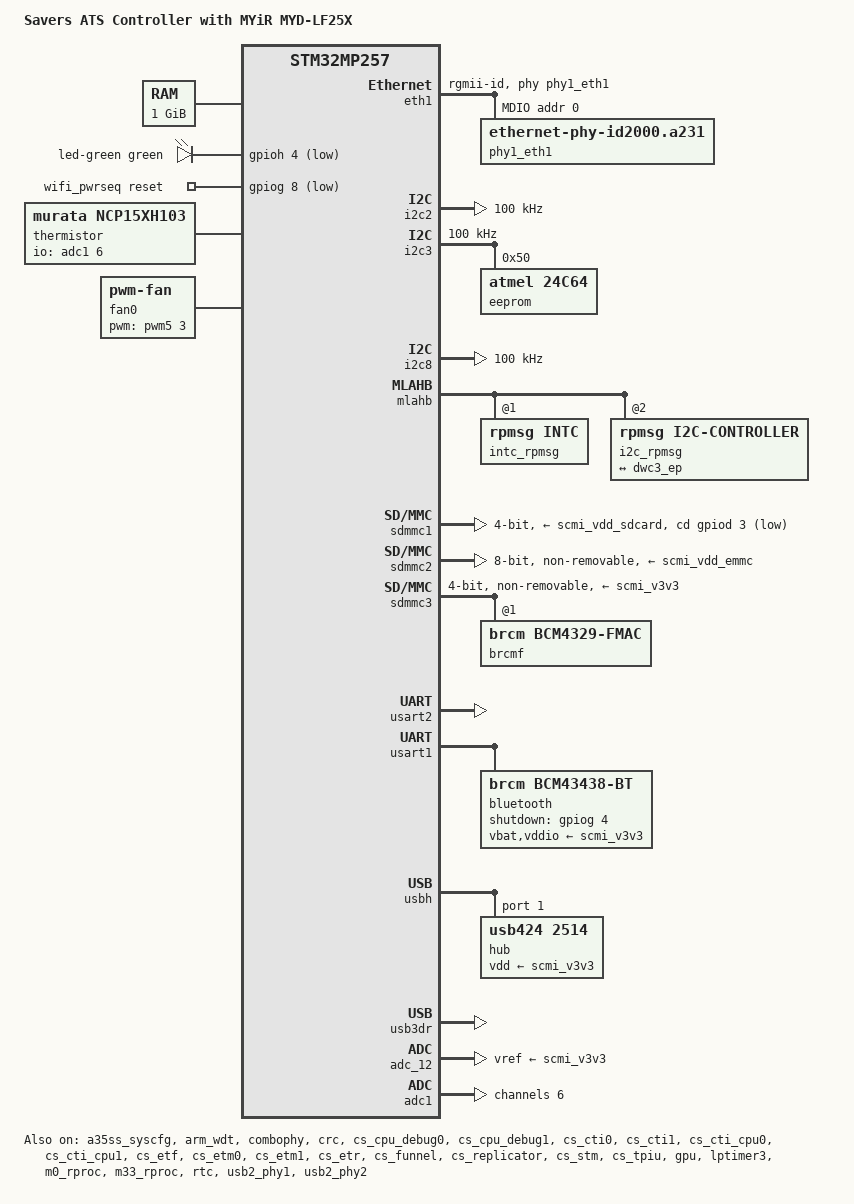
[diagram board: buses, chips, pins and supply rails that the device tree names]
// SPDX-License-Identifier: (GPL-2.0-only OR BSD-3-Clause)

/dts-v1/;

#include <dt-bindings/gpio/gpio.h>
#include <dt-bindings/input/input.h>
#include <dt-bindings/leds/common.h>
#include <dt-bindings/rtc/rtc-stm32.h>
#include <dt-bindings/net/ti-dp83867.h>
#include "stm32mp257.dtsi"
#include "stm32mp25xf.dtsi"
#include "stm32mp25-pinctrl.dtsi"
#include "stm32mp25xxak-pinctrl.dtsi"
#include "savers-myd-lf25x-stm32mp257x-ca35tdcid-ostl-resmem.dtsi"
#include "savers-myd-lf25x-stm32mp257x-ca35tdcid-ostl-mx.dtsi"
 
/ {
	model = "Savers ATS Controller with MYiR MYD-LF25X";
	compatible = "st,savers-myd-lf25x", "savers,savers-myd-lf25x", "myir,myd-lf25x", "st,stm32mp257";

	aliases {
		ethernet1 = &eth1;
		serial0 = &usart2;
		serial1 = &usart1;
		serial3 = &usart3;
		serial6 = &usart6;
		i2c1 = &i2c1;
		i2c2 = &i2c2;
		i2c3 = &i2c3;
		i2c8 = &i2c8;
        mmc0 = &sdmmc1;
        mmc1 = &sdmmc2;
        mmc2 = &sdmmc3;
	};

	memory@80000000 {
		device_type = "memory";
		reg = <0x0 0x80000000 0x0 0x40000000>;
	};

	chosen {
		stdout-path = "serial0:115200n8";
	};

	gpio-leds {
		compatible = "gpio-leds";

		led-green {
			function = LED_FUNCTION_HEARTBEAT;
			color = <LED_COLOR_ID_GREEN>;
			gpios = <&gpioh 4 GPIO_ACTIVE_LOW>;
			linux,default-trigger = "heartbeat";
			default-state = "off";
		};
	};

};

&i2s1 {
	status = "disabled";
};

&a35ss_syscfg {
	status = "okay";
};

&ahbsr {
	mbox_client: mailbox-client@1 {
		compatible = "mbox-cdev";
		reg = <1 0>;
		memory-region =  <&ipc_shmem_2>;
		mboxes = <&ipcc2 0>;
		mbox-names = "rx-tx";
		status = "okay";
	};
};

&arm_wdt {
	timeout-sec = <32>;
	status = "okay";
};

&combophy {
	clocks = <&rcc CK_BUS_USB3PCIEPHY>, <&rcc CK_KER_USB3PCIEPHY>;
    clock-names = "apb-clk", "ker-clk";
	st,rx_equalizer = <1>;
	status = "okay";
};

&crc {
	status = "okay";
};

&cs_cpu_debug0 {
	status = "okay";
};

&cs_cpu_debug1 {
	status = "okay";
};

&cs_cti0 {
	status = "okay";
};

&cs_cti1 {
	status = "okay";
};

&cs_cti_cpu0 {
	status = "okay";
};

&cs_cti_cpu1 {
	status = "okay";
};

&cs_etf {
	status = "okay";
};

&cs_etm0 {
	status = "okay";
};

&cs_etm1 {
	status = "okay";
};

&cs_etr {
	status = "okay";
};

&cs_funnel {
	status = "okay";
};

&cs_replicator {
	status = "okay";
};

&cs_stm {
	status = "okay";
};

&cs_tpiu {
	status = "okay";
};

&csi {
	status = "disabled";
};

&dcmipp {
	status = "disabled";
};

&dsi {
	status = "disabled";
};


&eth1 {
	status = "okay";
	pinctrl-0 = <&eth1_rgmii_pins_b>;
	pinctrl-1 = <&eth1_rgmii_sleep_pins_b>;
	pinctrl-names = "default", "sleep";
	phy-mode = "rgmii-id";
	max-speed = <1000>;
	phy-handle = <&phy1_eth1>;

	/*
	 * Take the RGMII 125 MHz from the RCC PLL, not from the PHY's CLK_OUT
	 * on ETH_CLK125 (PH9). The DP83867 powers up with IO_MUX_CFG (MMD 0x1F,
	 * 0x0170) = 0x0c0e, i.e. CLK_O_SEL = REF_CLK, which drives 25 MHz --
	 * measured on two boards. Without this the MAC clocked GTX_CLK at
	 * 25 MHz on a 1Gbps link and the PHY transmitted nothing valid.
	 * The STM32MP257F-DK needs no such property because its Realtek
	 * RTL8211F does drive a free-running 125 MHz.
	 */
	st,eth-clk-sel;
	snps,ext-systime;

	mdio1 {
		#address-cells = <1>;
		#size-cells = <0>;
		compatible = "snps,dwmac-mdio";

		reset-gpios = <&gpioi 4 GPIO_ACTIVE_LOW>;	/* ETH1_PHY_RST (PI4) */
		reset-delay-us = <10000>;
		reset-post-delay-us = <80000>;

		phy1_eth1: ethernet-phy@0 {
			compatible = "ethernet-phy-id2000.a231", "ethernet-phy-ieee802.3-c22";
			reg = <0>;
			phy-mode = "rgmii-id";
			ti,rx-internal-delay = <DP83867_RGMIIDCTL_2_00_NS>;
			ti,tx-internal-delay = <DP83867_RGMIIDCTL_2_00_NS>;
			ti,fifo-depth = <DP83867_PHYCR_FIFO_DEPTH_4_B_NIB>;
		};
	};
};

&gpu {
	contiguous-area = <&gpu_reserved>;
	status = "okay";
};

&hpdma {
	memory-region = <&hpdma1_lli>;
};

&hpdma2 {
	memory-region = <&hpdma2_lli>;
};

&hpdma3 {
	memory-region = <&hpdma3_lli>;
};

&i2c2 {
	i2c-scl-rising-time-ns = <100>;
	i2c-scl-falling-time-ns = <13>;
	clock-frequency = <100000>;
	status = "okay";
	/* spare dmas for other usage */
	/delete-property/dmas;
	/delete-property/dma-names;
};

&i2c3 {
	i2c-scl-rising-time-ns = <185>;
	i2c-scl-falling-time-ns = <20>;
	clock-frequency = <100000>;
	status = "okay";
	/* spare dmas for other usage */
	/delete-property/dmas;
	/delete-property/dma-names;

	eeprom@50 {
		compatible = "atmel,24c64";
		reg = <0x50>;
		status = "okay";
	};
};

&i2c8 {
	i2c-scl-rising-time-ns = <185>;
	i2c-scl-falling-time-ns = <20>;
	clock-frequency = <100000>;
	status = "okay";
};

&i2s2 {
	status = "disabled";
};

&i2s3 {
	status = "disabled";
};

&ipcc1 {
	status = "okay";
};

&ipcc2 {
	status = "okay";
};

/* use LPTIMER with tick broadcast for suspend mode */
&lptimer3 {
	status = "okay";
	timer {
		status = "okay";
	};
};

&lpuart1 {
	status = "disabled";
};

&m0_rproc {
	mboxes = <&ipcc2 0>, <&ipcc2 1>, <&ipcc2 2>;
	mbox-names = "rx", "tx", "shutdown";
	memory-region = <&cm0_cube_fw>, <&cm0_cube_data>;
	clocks = <&rcc CK_CPU3>,
		 <&rcc CK_CPU3_AM>,
		 <&scmi_clk CK_SCMI_IPCC2>,
		 <&scmi_clk CK_SCMI_IPCC2_AM>;
	status = "okay";
};

/*
 * Load the M33 through OP-TEE, exactly as the STM32MP257F-DK does.
 *
 * The previous non-TEE configuration had Linux load the ELF itself and write
 * the M33 boot vector via st,syscfg-nsvtor. With OP-TEE running, A35SS_SYSCFG
 * is secure, so that write fails and the boot aborts:
 *   remoteproc0: failed to set boot_vec
 *   remoteproc0: can't start rproc m33: -5
 *
 * Under "st,stm32mp2-m33-tee", OP-TEE owns firmware load, authentication and
 * the boot vector, so neither st,syscfg-nsvtor nor the cm33_cube_fw /
 * cm33_cube_data regions belong here -- OP-TEE owns that memory. Only the
 * rpmsg transport regions remain. This makes remoteproc0/fw_format report TEE
 * rather than ELF, and the firmware must be signed with the key whose public
 * half is compiled into OP-TEE (scripts/sign_rproc_fw.py + keys/default.pem).
 */
&m33_rproc {
	compatible = "st,stm32mp2-m33-tee";
	mboxes = <&ipcc1 0x100>, <&ipcc1 0x101>, <&ipcc1 2>;
	mbox-names = "vq0", "vq1", "shutdown";
	memory-region = <&ipc_shmem_1>, <&vdev0vring0>,
			<&vdev0vring1>, <&vdev0buffer>,
			<&cm33_sram2>;
	status = "okay";
};



&mlahb {
	intc_rpmsg: interrupt-controller@1 {
		compatible = "rpmsg,intc";
		reg = <1 0>;
		#interrupt-cells = <1>;
		interrupt-controller;
	};

	i2c_rpmsg: i2c@2 {
		compatible = "rpmsg,i2c-controller";
		reg = <2 0>;
		rpmsg,dev-id = "rpmsg_i2c";
		#address-cells = <1>;
		#size-cells = <0>;
		status = "okay";

		typec@35 {
			compatible = "st,stm32mp25-typec";
			reg = <0x35>;
			interrupts-extended = <&intc_rpmsg 0>;
			status = "okay";
			connector {
				compatible = "usb-c-connector";
				label = "USB-C";

				port {
					typec_ep: endpoint {
						remote-endpoint = <&dwc3_ep>;
					};
				};
			};
		};
	};
};

/*
 * ---------------------------------------------------------------------------
 * WiFi / Bluetooth (Murata / Broadcom), wired like the STM32MP257F-DK — same
 * module and pins on the Savers board:
 *   WiFi   : SDMMC3 SDIO, WL_REG_ON = PG8 (wifi_pwrseq)
 *   BT     : USART1, BT_REG_ON = PG4 (shutdown-gpios)
 *   32 kHz : RTC LSCO on RTC_OUT2 (PI8) feeds the module's LPO
 * NOTE: the brcmfmac / Murata firmware blobs must be installed in the rootfs
 * (image recipe) for WiFi/BT to actually come up.
 * ---------------------------------------------------------------------------
 */
/ {
	wifi_pwrseq: wifi-pwrseq {
		compatible = "mmc-pwrseq-simple";
		reset-gpios = <&gpiog 8 GPIO_ACTIVE_LOW>;	/* WL_REG_ON (PG8) */
		clocks = <&rtc>;
		clock-names = "ext_clock";
	};
};

&rtc {
	#clock-cells = <0>;
	st,lsco = <RTC_OUT2_RMP>;			/* 32 kHz LPO out on RTC_OUT2 (PI8) */
	pinctrl-0 = <&rtc_out2_rmp_pins_a>;
	pinctrl-names = "default";
	status = "okay";
};

&scmi_regu {
	scmi_vddio1: regulator@0 {
		regulator-min-microvolt = <3300000>;
		regulator-max-microvolt = <3300000>;
	};
	scmi_vddcore: regulator@11  {
		reg = <VOLTD_SCMI_STPMIC2_BUCK2>;
		regulator-name = "vddcore";
	};
	scmi_v1v8: regulator@14  {
		reg = <VOLTD_SCMI_STPMIC2_BUCK5>;
		regulator-name = "v1v8";
	};
	scmi_v3v3: regulator@16 {
		reg = <VOLTD_SCMI_STPMIC2_BUCK7>;
		regulator-name = "v3v3";
	};
	scmi_vdd_emmc: regulator@18 {
		reg = <VOLTD_SCMI_STPMIC2_LDO2>;
		regulator-name = "vdd_emmc";
	};
	scmi_vdd3v3_usb: regulator@20 {
		reg = <VOLTD_SCMI_STPMIC2_LDO4>;
		regulator-name = "vdd3v3_usb";
	};
	scmi_vdd_sdcard: regulator@23 {
		reg = <VOLTD_SCMI_STPMIC2_LDO7>;
		regulator-name = "vdd_sdcard";
	};
};

&sdmmc1 {
	pinctrl-names = "default", "opendrain", "sleep";
	pinctrl-0 = <&sdmmc1_b4_pins_b>;
	pinctrl-1 = <&sdmmc1_b4_od_pins_b>;
	pinctrl-2 = <&sdmmc1_b4_sleep_pins_a>;
	cd-gpios = <&gpiod 3 (GPIO_ACTIVE_LOW | GPIO_PULL_UP)>;
	max-frequency = <50000000>;
	disable-wp;
	st,neg-edge;
	bus-width = <4>;
	vmmc-supply = <&scmi_vdd_sdcard>;
	vqmmc-supply = <&scmi_vddio1>;
	status = "okay";
};

&sdmmc2 {
	pinctrl-names = "default", "opendrain", "sleep";
	pinctrl-0 = <&sdmmc2_b4_pins_a &sdmmc2_d47_pins_a>;
	pinctrl-1 = <&sdmmc2_b4_od_pins_a &sdmmc2_d47_pins_a>;
	pinctrl-2 = <&sdmmc2_b4_sleep_pins_a &sdmmc2_d47_sleep_pins_a>;
	non-removable;
	no-sd;
	no-sdio;
	st,neg-edge;
	bus-width = <8>;
	vmmc-supply = <&scmi_vdd_emmc>;
	vqmmc-supply = <&scmi_vddio2>;
	mmc-ddr-1_8v;
        mmc-hs200-1_8v;
	status = "okay";
};

/* Wifi */
&sdmmc3 {
	pinctrl-names = "default", "opendrain", "sleep";
	pinctrl-0 = <&sdmmc3_b4_pins_a>;
	pinctrl-1 = <&sdmmc3_b4_od_pins_a>;
	pinctrl-2 = <&sdmmc3_b4_sleep_pins_a>;
	non-removable;
	st,neg-edge;
	bus-width = <4>;
	vmmc-supply = <&scmi_v3v3>;
	mmc-pwrseq = <&wifi_pwrseq>;
	cap-power-off-card;
	cap-sdio-irq;
	#address-cells = <1>;
	#size-cells = <0>;
	status = "okay";

	brcmf: bcrmf@1 {
		reg = <1>;
		compatible = "brcm,bcm4329-fmac";
		status = "okay";
	};
};

&spi7 {
	status = "disabled";
};

&spi3 {
	status = "disabled";
};

&spi8 {
	status = "disabled";
};

&usart2 {
	pinctrl-names = "default", "idle", "sleep";
	pinctrl-0 = <&usart2_pins_a>;
	pinctrl-1 = <&usart2_idle_pins_a>;
	pinctrl-2 = <&usart2_sleep_pins_a>;
	/delete-property/dmas;
	/delete-property/dma-names;
	status = "okay";
};

&usart6 {
	uart-has-rtscts;
};

&usart1 {
	/delete-property/dmas;
	/delete-property/dma-names;
	uart-has-rtscts;
	status = "okay";
	bluetooth {
		compatible = "brcm,bcm43438-bt";
		shutdown-gpios = <&gpiog 4 GPIO_ACTIVE_HIGH>;	/* BT_REG_ON (PG4) */
		clocks = <&rtc>;
		clock-names = "lpo";
		max-speed = <2000000>;
		vbat-supply = <&scmi_v3v3>;
		vddio-supply = <&scmi_v3v3>;
	};
};

&uart4 {
	status = "disabled";
};

&uart8 {
	status = "disabled";
};

&uart9 {
	status = "disabled";
};

&usb2_phy1 {
	vdd33-supply = <&scmi_vdd3v3_usb>;
	status = "okay";
};

&usb2_phy2 {
	vdd33-supply = <&scmi_vdd3v3_usb>;
	status = "okay";
};

&usbh {
	status = "okay";

	usbh_ehci: usb@482f0000 {
		#address-cells = <1>;
		#size-cells = <0>;
		/* onboard HUB */
		hub@1 {
			compatible = "usb424,2514";
			reg = <1>;
			vdd-supply = <&scmi_v3v3>;
		};
	};

	usbh_ohci: usb@482e0000 {
		status = "disabled";
	};
};

&usb3dr {
	status = "okay";

	dwc3: usb@48300000 {
		phys            = <&usb2_phy2>, <&combophy PHY_TYPE_USB3>;
		phy-names       = "usb2-phy", "usb3-phy";
        maximum-speed = "super-speed";
        snps,incr-burst-type-adjustment = <4>;
        dr_mode = "otg";
		usb-role-switch;
        role-switch-default-mode = "peripheral";
        //role-switch-default-mode = "host";
        snps,dis_u2_susphy_quirk;
        snps,dis_u3_susphy_quirk;
        snps,dis_enblslpm_quirk;
        snps,dis-tx-ipgap-linecheck-quirk;
		port {
			dwc3_ep: endpoint {
				remote-endpoint = <&typec_ep>;
			};
		};
	};
};

/* THERM: NTC 10k (NCP18XH103J03RB) from 3V3 to PG1, 10k 1% from PG1 to GND. */
&adc_12 {
	pinctrl-names = "default";
	pinctrl-0 = <&adc12_pins_mx>;
	vdda-supply = <&scmi_v1v8>;	/* ADC analog bias rail - NOT the divider supply, see vref-supply */
	vref-supply = <&scmi_v3v3>;	/* ADC reference rail = 3V3 (matches divider supply) */
	status = "okay";
};

&adc1 {
	status = "okay";
	channel@6 {
		reg = <6>;		/* PG1 = ADC1_INP6 (THERM) */
		/* Divider source impedance (~5-20k over temp) is higher than a
		 * directly-driven signal, so use a longer sample time than
		 * ADC3's channel@2 (400ns) to let the S/H cap settle. */
		st,min-sample-time-ns = <10000>;
	};
};

/* THERM (NTC 10k, connected-positive per the schematic's 3V3-NTC-PG1-10k-GND
 * divider) exposed as a hwmon/thermal sensor via the ntc-thermistor driver.
 * "murata,ncp15xh103" is the closest bound compatible: the driver keys its
 * R-T curve on the "XH103" suffix (10k/B-constant), not the "15" vs "18"
 * package-size digit (see TYPE_NCPXXXH103 in ntc_thermistor.c), so it's the
 * correct curve for our NCP18XH103J03RB part.
 */
/ {
	thermistor: thermistor {
		compatible = "murata,ncp15xh103";
		io-channels = <&adc1 6>;
		pullup-uv = <3300000>;
		pullup-ohm = <0>;
		pulldown-ohm = <10000>;
		connected-positive;
		#thermal-sensor-cells = <0>;
	};

	/*
	 * PWM_FAN (PG9/TIM5_CH4) drives a 4-wire 24V fan (QFR0824HHP0) through
	 * an open-drain optocoupler (FODM121, schematic sheet 21 "PWM FAN").
	 * Unlike LED_ILL, there's no documented inversion here — an
	 * optocoupler sinking the line low for X% of the period is the
	 * standard 4-wire-fan PWM convention, so normal polarity is correct.
	 * TACH isn't wired to any MCU pin on this board revision, so RPM
	 * feedback isn't available — this is open-loop speed control only.
	 */
	fan0: pwm-fan {
		compatible = "pwm-fan";
		pwms = <&pwm5 3 40000 0>;	/* 25kHz, per the 4-wire fan PWM spec */
		#cooling-cells = <2>;
		/* Duty-cycle steps (0-255) for cooling states 0..3 below. */
		cooling-levels = <0 85 170 255>;
	};

	/*
	 * Starting-point trip curve for THERM-driven fan ramp — not a
	 * calibrated thermal design. Tune temperature/hysteresis once the
	 * enclosure's real thermal behavior is characterized.
	 */
	thermal-zones {
		board-thermal {
			polling-delay-passive = <1000>;
			polling-delay = <5000>;
			thermal-sensors = <&thermistor>;

			trips {
				board_fan_low: board-fan-low {
					temperature = <45000>;
					hysteresis = <3000>;
					type = "active";
				};
				board_fan_mid: board-fan-mid {
					temperature = <55000>;
					hysteresis = <3000>;
					type = "active";
				};
				board_fan_high: board-fan-high {
					temperature = <65000>;
					hysteresis = <3000>;
					type = "active";
				};
			};

			cooling-maps {
				map0 {
					trip = <&board_fan_low>;
					cooling-device = <&fan0 1 1>;
				};
				map1 {
					trip = <&board_fan_mid>;
					cooling-device = <&fan0 2 2>;
				};
				map2 {
					trip = <&board_fan_high>;
					cooling-device = <&fan0 3 3>;
				};
			};
		};
	};
};
